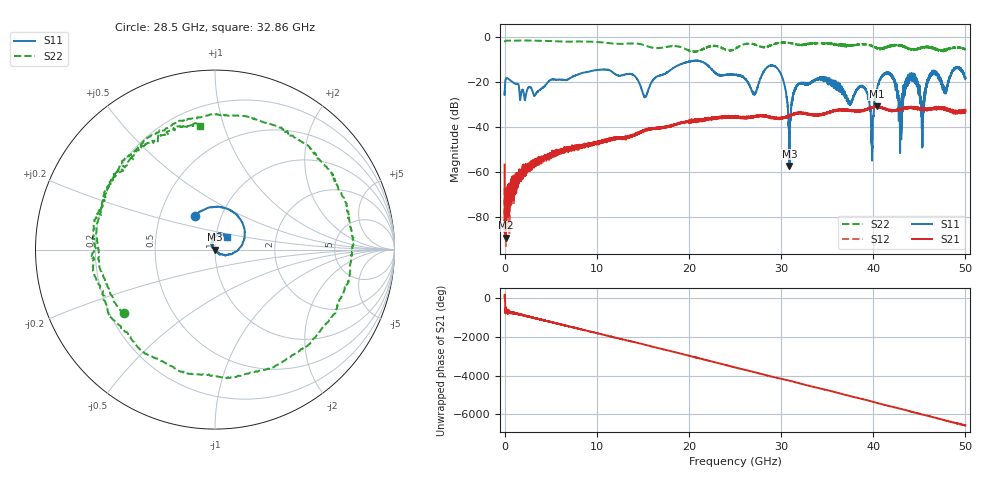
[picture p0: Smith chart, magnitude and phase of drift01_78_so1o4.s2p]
!Created with skrf (http://scikit-rf.org).
# Hz S RI R 50.0
!freq ReS11 ImS11 ReS21 ImS21 ReS12 ImS12 ReS22 ImS22
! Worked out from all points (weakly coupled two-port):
!   10001 points, 300 kHz to 50 GHz, reference 50 ohm
!   highest |S21| = -30.54 dB at 40.4 GHz (marker M1); lowest = -89.0 dB at 130.3 MHz (marker M2)
!   lowest |S11| = -57.1 dB at 30.9 GHz (marker M3), VSWR 1.00, Z = 49.9 - j0.124 ohm
!   |S11| at or under -10 dB: start of sweep to end of sweep
!   |S22| runs from -6.4 to -1.4 dB; largest |S21 - S12| = 0.0039
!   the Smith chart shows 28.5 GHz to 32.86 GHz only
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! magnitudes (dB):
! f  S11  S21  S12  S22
! 300 kHz  -24.1  -56.5  -66.8  -2.1
! 130.3 MHz  -18.4  -89.0  -77.3  -1.5
! 2.88 GHz  -22.4  -55.2  -57.1  -1.4
! 8.335 GHz  -15.9  -47.9  -48.3  -1.8
! 13.79 GHz  -16.4  -43.7  -43.5  -2.7
! 15.23 GHz  -26.5  -41.0  -41.3  -3.5
! 16.67 GHz  -17.1  -40.3  -40.2  -4.8
! 25 GHz  -16.5  -35.4  -35.1  -5.0
! 27.09 GHz  -25.1  -35.3  -35.1  -3.0
! 29.45 GHz  -13.2  -35.8  -35.7  -2.8
! 30.9 GHz  -57.1  -34.7  -35.0  -2.5
! 31.7 GHz  -21.7  -33.7  -33.5  -3.3
! 33.34 GHz  -19.8  -34.4  -34.2  -2.7
! 38.91 GHz  -22.0  -32.6  -32.6  -3.1
! 39.85 GHz  -47.1  -31.2  -31.0  -3.7
! 40.4 GHz  -23.2  -30.5  -30.8  -4.9
! 41.67 GHz  -15.6  -32.4  -32.4  -4.0
! 42.99 GHz  -30.8  -31.9  -32.2  -3.4
! 44.03 GHz  -17.1  -30.9  -31.2  -5.3
! 45.31 GHz  -49.0  -31.8  -31.9  -4.4
! 46.42 GHz  -15.6  -31.7  -31.5  -4.8
! 50 GHz  -17.8  -32.2  -33.2  -5.3
